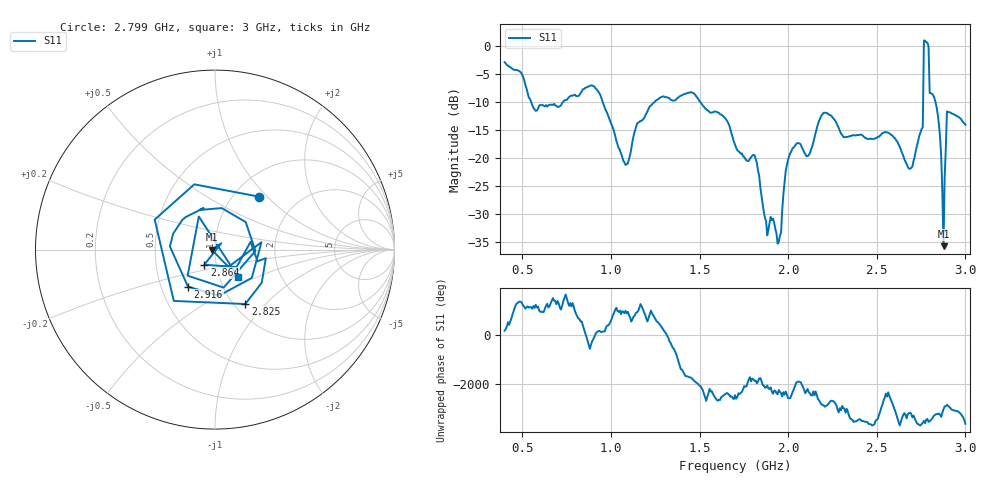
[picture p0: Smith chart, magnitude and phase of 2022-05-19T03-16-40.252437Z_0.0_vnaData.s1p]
!Created with skrf (http://scikit-rf.org).
# Hz S RI R 50.0
!freq ReS11 ImS11
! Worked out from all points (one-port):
!   401 points, 400 MHz to 3 GHz, reference 50 ohm
!   lowest |S11| = -35.7 dB at 2.877 GHz (marker M1), VSWR 1.03, Z = 48.4 - j0.0491 ohm
!   |S11| at or under -10 dB: 550.8 MHz to 728.9 MHz (178.1 MHz wide, 27.8 % of centre); 953.9 MHz to 1.245 GHz (290.7 MHz wide, 26.4 % of centre); 1.505 GHz to 2.761 GHz (1.256 GHz wide, 58.9 % of centre) (the widest 3 of 4)
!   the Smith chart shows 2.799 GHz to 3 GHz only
!   S11 on the Smith chart (normalised r, x): 2.799 GHz: 1.30, +0.90; 2.825 GHz: 1.12, -0.77; 2.864 GHz: 0.87, -0.15; 2.916 GHz: 0.68, -0.30; 3 GHz: 1.23, -0.39
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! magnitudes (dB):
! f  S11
! 400 MHz  -2.8
! 569 MHz  -11.3
! 725 MHz  -10.1
! 907 MHz  -7.2
! 1.05 GHz  -18.5
! 1.089 GHz  -21.1
! 1.226 GHz  -10.6
! 1.375 GHz  -9.2
! 1.7 GHz  -17.6
! 1.81 GHz  -19.5
! 1.875 GHz  -31.3
! 1.947 GHz  -34.9
! 1.992 GHz  -21.3
! 2.025 GHz  -18.2
! 2.116 GHz  -19.4
! 2.207 GHz  -11.9
! 2.35 GHz  -16.0
! 2.571 GHz  -15.5
! 2.675 GHz  -21.5
! 2.747 GHz  -15.4
! 2.779 GHz  0.7
! 2.799 GHz  -8.3
! 2.825 GHz  -9.2
! 2.85 GHz  -13.9
! 2.864 GHz  -19.7
! 2.877 GHz  -35.7
! 2.916 GHz  -11.8
! 3 GHz  -14.0
